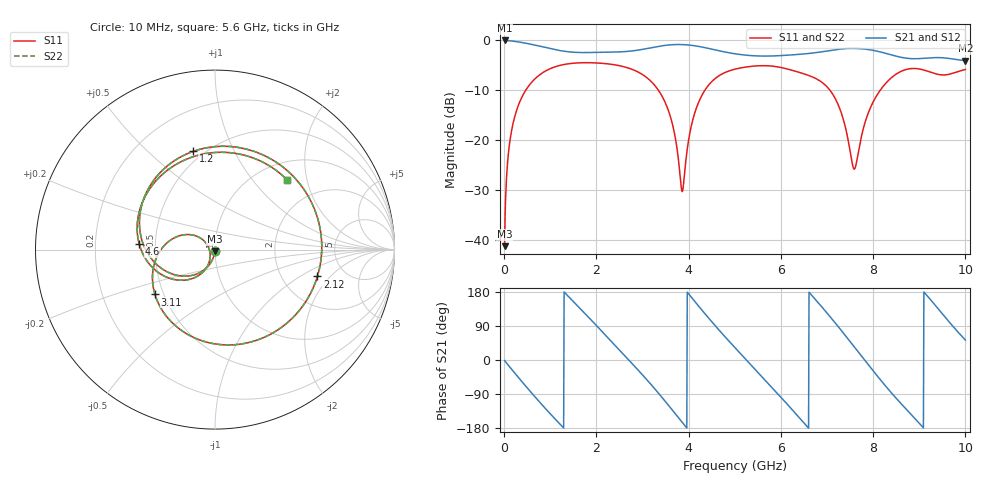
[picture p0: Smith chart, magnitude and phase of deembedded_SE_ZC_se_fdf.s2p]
# GHz S MA R 50
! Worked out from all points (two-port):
!   1000 points, 10 MHz to 10 GHz, reference 50 ohm
!   highest |S21| = -0.01 dB at 10 MHz (marker M1); lowest = -4.0 dB at 10 GHz (marker M2)
!   |S21| within 3 dB of the highest: start of sweep to 5.304 GHz; 6.063 GHz to 8.437 GHz (2.374 GHz wide, 32.8 % of centre)
!   lowest |S11| = -41.2 dB at 10 MHz (marker M3), VSWR 1.02, Z = 49.9 - j0.862 ohm
!   |S11| at or under -10 dB: start of sweep to 467.1 MHz; 3.346 GHz to 4.351 GHz (1.006 GHz wide, 26.1 % of centre); 7.064 GHz to 8.152 GHz (1.088 GHz wide, 14.3 % of centre)
!   |S22| runs from -41.2 to -4.5 dB; largest |S21 - S12| = 4e-08
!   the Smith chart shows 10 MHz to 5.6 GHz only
!   S11 on the Smith chart (normalised r, x): 10 MHz: 1.00, -0.02; 1.2 GHz: 0.44, +0.70; 2.12 GHz: 3.15, -1.45; 3.11 GHz: 0.45, -0.27; 4.6 GHz: 0.40, +0.03; 5.6 GHz: 1.35, +1.53
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0.01  0.008666 -95.0  0.9994 -1.5  0.9994 -1.5  0.008666 -95.0
0.17  0.1307 -118.7  0.9859 -25.6  0.9859 -25.6  0.1307 -118.7
0.56  0.3635 -173.3  0.9199 -82.1  0.9199 -82.1  0.3635 -173.3
1.2  0.5606 102.5  0.7928 -167.9  0.7928 -167.9  0.5606 102.5
1.68  0.5975 41.3  0.7558 132.0  0.7558 132.0  0.5975 41.3
2.12  0.5899 -14.7  0.7609 75.4  0.7609 75.4  0.5899 -14.7
2.64  0.538 -80.8  0.7742 7.9  0.7742 7.9  0.538 -80.8
3.11  0.4176 -143.3  0.8317 -54.3  0.8317 -54.3  0.4176 -143.3
3.34  0.319 -175.1  0.8712 -86.7  0.8712 -86.7  0.319 -175.1
3.86  0.03056 -168.0  0.9087 -164.3  0.9087 -164.3  0.03056 -168.0
4.6  0.4241 175.6  0.799 87.2  0.799 87.2  0.4241 175.6
5.01  0.5158 120.8  0.7342 31.8  0.7342 31.8  0.5158 120.8
5.6  0.5585 44.1  0.697 -45.3  0.697 -45.3  0.5585 44.1
6.1  0.5229 -19.8  0.7093 -111.6  0.7093 -111.6  0.5229 -19.8
6.67  0.4332 -98.1  0.7459 170.5  0.7459 170.5  0.4332 -98.1
7.33  0.1758 -179.9  0.8229 74.9  0.8229 74.9  0.1758 -179.9
7.59  0.05128 -144.2  0.8321 34.7  0.8321 34.7  0.05128 -144.2
7.81  0.1429 -107.5  0.8195 0.6  0.8195 0.6  0.1429 -107.5
8.34  0.4004 -173.6  0.728 -78.8  0.728 -78.8  0.4004 -173.6
9.14  0.4985 85.0  0.6639 173.9  0.6639 173.9  0.4985 85.0
9.58  0.4525 20.1  0.6656 110.3  0.6656 110.3  0.4525 20.1
10  0.5114 -38.3  0.6283 52.6  0.6283 52.6  0.5114 -38.3
